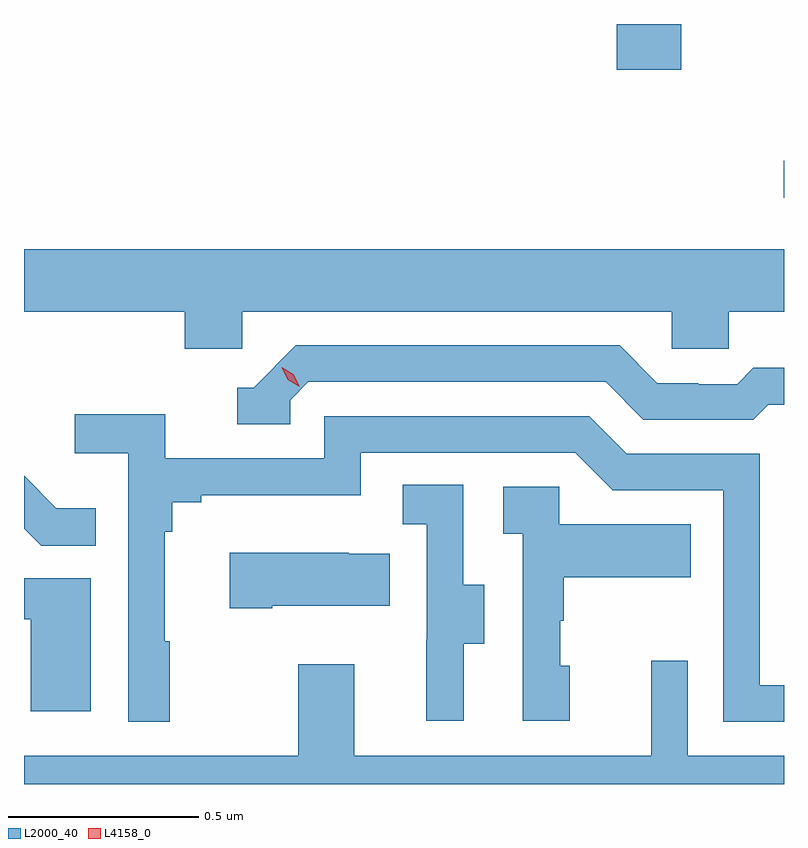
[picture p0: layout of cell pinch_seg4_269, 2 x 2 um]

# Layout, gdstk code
import gdstk
lib = gdstk.Library(unit=1e-6, precision=1e-09)
def R(c, l, rs):  # rectangles x0, y0, x1, y1
    for r in rs: c.add(gdstk.rectangle(r[:2], r[2:], *l))
def P(c, l, *ps):  # polygons
    for p in ps: c.add(gdstk.Polygon(p, *l))
L2000_40 = (2000, 40)
L4158_0 = (4158, 0)

pinch_seg4_269 = lib.new_cell('pinch_seg4_269')
R(pinch_seg4_269, L2000_40, [(947.877,829.088,947.878,829.185), (947.438,829.425,947.608,829.545)])
P(pinch_seg4_269, L2000_40, [(946.452,828.788),(947.583,828.788),(947.583,828.69),(947.733,828.69),(947.733,828.788),(947.878,828.788),(947.878,828.952),(945.878,828.952),(945.878,828.788),(946.301,828.788),(946.301,828.69),(946.452,828.69)],
  [(946.578,828.555),(946.626,828.603),(947.409,828.603),(947.508,828.504),(947.797,828.504),(947.836,828.543),(947.878,828.543),(947.878,828.64),(947.797,828.64),(947.755,828.597),(947.652,828.597),(947.652,828.6),(947.545,828.6),(947.446,828.699),(946.593,828.699),(946.482,828.588),(946.439,828.588),(946.439,828.492),(946.578,828.492)],
  [(946.261,827.921),(946.249,827.921),(946.249,828.209),(946.268,828.209),(946.268,828.286),(946.345,828.286),(946.345,828.305),(946.764,828.305),(946.764,828.417),(947.328,828.417),(947.427,828.318),(947.718,828.318),(947.718,827.709),(947.878,827.709),(947.878,827.805),(947.814,827.805),(947.814,828.414),(947.464,828.414),(947.365,828.513),(946.668,828.513),(946.668,828.402),(946.25,828.402),(946.25,828.518),(946.011,828.518),(946.011,828.416),(946.152,828.416),(946.152,827.709),(946.261,827.709)],
  [(946.067,828.271),(945.963,828.271),(945.878,828.356),(945.878,828.217),(945.923,828.172),(946.067,828.172)],
  [(947.035,827.914),(947.089,827.914),(947.089,828.069),(947.034,828.069),(947.034,828.332),(946.875,828.332),(946.875,828.229),(946.938,828.229),(946.938,827.925),(946.937,827.925),(946.937,827.712),(947.035,827.712)],
  [(947.314,827.856),(947.289,827.856),(947.289,827.975),(947.299,827.975),(947.299,828.089),(947.633,828.089),(947.633,828.229),(947.286,828.229),(947.286,828.327),(947.139,828.327),(947.139,828.203),(947.19,828.203),(947.19,827.712),(947.314,827.712)],
  [(946.531,828.014),(946.841,828.014),(946.841,828.151),(946.733,828.151),(946.733,828.154),(946.419,828.154),(946.419,828.007),(946.531,828.007)],
  [(946.054,828.087),(945.878,828.087),(945.878,827.979),(945.896,827.979),(945.896,827.736),(946.054,827.736)],
  [(947.878,827.62),(947.625,827.62),(947.625,827.869),(947.528,827.869),(947.528,827.62),(946.747,827.62),(946.747,827.86),(946.6,827.86),(946.6,827.62),(945.878,827.62),(945.878,827.545),(947.878,827.545)])
P(pinch_seg4_269, L4158_0, [(946.603,828.59),(946.572,828.609),(946.556,828.642),(946.556,828.642),(946.556,828.642),(946.587,828.623),(946.603,828.59),(946.603,828.59)])

lib.write_gds('pinch_seg4_269.gds')
